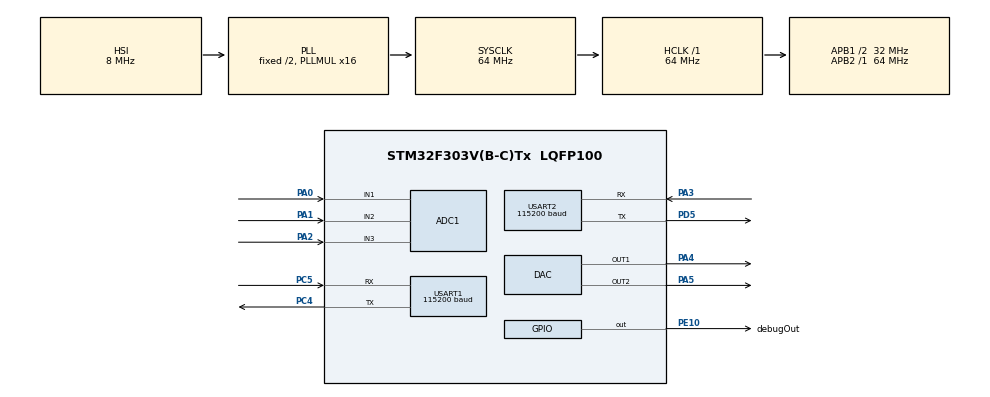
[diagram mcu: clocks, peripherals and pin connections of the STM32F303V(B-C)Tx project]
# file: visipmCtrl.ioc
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ADC1.Channel-11\#ChannelRegularConversion=ADC_CHANNEL_1
ADC1.Channel-12\#ChannelRegularConversion=ADC_CHANNEL_2
ADC1.Channel-13\#ChannelRegularConversion=ADC_CHANNEL_VREFINT
ADC1.Channel-14\#ChannelRegularConversion=ADC_CHANNEL_3
ADC1.ClockPrescaler=ADC_CLOCK_SYNC_PCLK_DIV4
ADC1.ContinuousConvMode=ENABLE
ADC1.DMAContinuousRequests=ENABLE
ADC1.NbrOfConversion=4
ADC1.NbrOfConversionFlag=1
ADC1.Offset-11\#ChannelRegularConversion=0
ADC1.Offset-12\#ChannelRegularConversion=0
ADC1.Offset-13\#ChannelRegularConversion=0
ADC1.Offset-14\#ChannelRegularConversion=0
ADC1.OffsetNumber-11\#ChannelRegularConversion=ADC_OFFSET_NONE
ADC1.OffsetNumber-12\#ChannelRegularConversion=ADC_OFFSET_NONE
ADC1.OffsetNumber-13\#ChannelRegularConversion=ADC_OFFSET_NONE
ADC1.OffsetNumber-14\#ChannelRegularConversion=ADC_OFFSET_NONE
ADC1.Rank-11\#ChannelRegularConversion=1
ADC1.Rank-12\#ChannelRegularConversion=2
ADC1.Rank-13\#ChannelRegularConversion=3
ADC1.Rank-14\#ChannelRegularConversion=4
ADC1.SamplingTime-11\#ChannelRegularConversion=ADC_SAMPLETIME_601CYCLES_5
ADC1.SamplingTime-12\#ChannelRegularConversion=ADC_SAMPLETIME_601CYCLES_5
ADC1.SamplingTime-13\#ChannelRegularConversion=ADC_SAMPLETIME_601CYCLES_5
ADC1.SamplingTime-14\#ChannelRegularConversion=ADC_SAMPLETIME_601CYCLES_5
ADC1.SamplingTimeOPAMP-14\#ChannelRegularConversion=ADC_SAMPLETIME_7CYCLES_5
ADC1.master=1
DAC.DAC_OutputBuffer=DAC_OUTPUTBUFFER_DISABLE
DAC.DAC_OutputBuffer2=DAC_OUTPUTBUFFER_DISABLE
Dma.ADC1.0.Direction=DMA_PERIPH_TO_MEMORY
Dma.ADC1.0.Instance=DMA1_Channel1
Dma.ADC1.0.MemDataAlignment=DMA_MDATAALIGN_WORD
Dma.ADC1.0.MemInc=DMA_MINC_ENABLE
Dma.ADC1.0.Mode=DMA_CIRCULAR
Dma.ADC1.0.PeriphDataAlignment=DMA_PDATAALIGN_WORD
Dma.ADC1.0.PeriphInc=DMA_PINC_DISABLE
Dma.ADC1.0.Priority=DMA_PRIORITY_LOW
Dma.Request0=ADC1
Mcu.Family=STM32F3
Mcu.Name=STM32F303V(B-C)Tx
Mcu.Package=LQFP100
NVIC.DMA1_Channel1_IRQn=true\:0\:0\:false\:false\:true\:false\:true
NVIC.PriorityGroup=NVIC_PRIORITYGROUP_0
NVIC.TIM2_IRQn=true\:0\:0\:false\:false\:true\:true\:true
NVIC.TIM6_DAC_IRQn=true\:0\:0\:false\:false\:true\:true\:true
NVIC.USART1_IRQn=true\:0\:0\:false\:false\:true\:true\:true
NVIC.USART2_IRQn=true\:0\:0\:false\:false\:true\:true\:true
PA0.Mode=IN1-Single-Ended
PA0.Signal=ADC1_IN1
PA1.Mode=IN2-Single-Ended
PA1.Signal=ADC1_IN2
PA13.Mode=Serial_Wire
PA13.Signal=SYS_JTMS-SWDIO
PA14.Mode=Serial_Wire
PA14.Signal=SYS_JTCK-SWCLK
PA2.Mode=IN3-Single-Ended
PA2.Signal=ADC1_IN3
PA3.Mode=Asynchronous
PA3.Signal=USART2_RX
PA4.Signal=COMP_DAC1_group
PA5.Signal=COMP_DAC2_group
PC4.Mode=Asynchronous
PC4.Signal=USART1_TX
PC5.Mode=Asynchronous
PC5.Signal=USART1_RX
PD5.Mode=Asynchronous
PD5.Signal=USART2_TX
PE10.GPIO_Label=debugOut
PE10.Signal=GPIO_Output
ProjectManager.HeapSize=0x200
ProjectManager.StackSize=0x400
ProjectManager.TargetToolchain=STM32CubeIDE
RCC.AHBFreq_Value=64000000
RCC.APB1CLKDivider=RCC_HCLK_DIV2
RCC.APB1Freq_Value=32000000
RCC.APB1TimFreq_Value=64000000
RCC.APB2Freq_Value=64000000
RCC.APB2TimFreq_Value=64000000
RCC.CortexFreq_Value=64000000
RCC.DATA_CACHE_ENABLE=1
RCC.HCLKFreq_Value=64000000
RCC.HSE_VALUE=8000000
RCC.HSI_VALUE=8000000
RCC.INSTRUCTION_CACHE_ENABLE=1
RCC.LSE_VALUE=32768
RCC.PLLMUL=RCC_PLL_MUL16
RCC.PWR_Regulator_Voltage_Scale=PWR_REGULATOR_VOLTAGE_SCALE1
RCC.SYSCLKFreq_VALUE=64000000
RCC.SYSCLKSourceVirtual=RCC_SYSCLKSOURCE_PLLCLK
RCC.USBFreq_Value=64000000
RCC.Usart2ClockSelection=RCC_USART2CLKSOURCE_SYSCLK
SH.COMP_DAC1_group.0=DAC_OUT1,DAC_OUT1
SH.COMP_DAC2_group.0=DAC_OUT2,Enable_DAC_OUT2
TIM2.Period=1000
TIM2.Prescaler=63
USART1.BaudRate=115200
USART1.VirtualMode-Asynchronous=VM_ASYNC
USART2.BaudRate=115200
USART2.VirtualMode-Asynchronous=VM_ASYNC
VP_ADC1_Vref_Input.Mode=IN-Vrefint
VP_TIM2_VS_ClockSourceINT.Mode=Internal
board=STM32F3DISCOVERY

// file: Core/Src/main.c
/* USER CODE BEGIN Header */
/**
  ******************************************************************************
  * @file           : main.c
  * @brief          : Main program body
  ******************************************************************************
  * @attention
  *
  * <h2><center>&copy; Copyright (c) 2021 STMicroelectronics.
  * All rights reserved.</center></h2>
  *
  * This software component is licensed by ST under BSD 3-Clause license,
  * the "License"; You may not use this file except in compliance with the
  * License. You may obtain a copy of the License at:
  *                        opensource.org/licenses/BSD-3-Clause
  *
  ******************************************************************************
  */
/* USER CODE END Header */
#include "main.h"

ADC_HandleTypeDef hadc1;
DMA_HandleTypeDef hdma_adc1;

DAC_HandleTypeDef hdac;

TIM_HandleTypeDef htim2;

UART_HandleTypeDef huart1;
UART_HandleTypeDef huart2;

/* USER CODE BEGIN PV */

uint8_t vSection = BIAS;

/*
 * Variabili per la conversione ADC
 */

uint32_t ADCBuf[4];
float vref = 3.0;
float biasReadVal;
float biasHVReadVal;
float katodeReadVal;

/*
 * Variabili per il BIAS
 */
float biasVoltage = 0.0;
float biasMaxVoltage = MAXBIAS;

/*
 * Variabili per il CATODO
 */
float katodeVoltage = 0.0;
float katodeMaxVoltage = MAXKATODE;

/*
 * Variabili per la UART
 */
uint8_t dataBuffer1[BUFSIZE];
uint8_t dataBuffer2[BUFSIZE];
uint8_t sendBuffer[BUFSIZE];

uint8_t* dataPointer1 = dataBuffer1;
uint8_t* endPacketPointer1 = dataBuffer1;

uint8_t* dataPointer2 = dataBuffer2;
uint8_t* endPacketPointer2 = dataBuffer2;

uint8_t* sendPointer = sendBuffer;
uint8_t* endSendPointer = sendBuffer;

uint8_t* packetToProcess[PACKETSINBUF];
uint8_t packetsNum = 0;

uint8_t* packetToSend[PACKETSINBUF];
uint8_t pckToSendNum = 0;

uint8_t uartDir = 0;

/*
 * Variabili per parseFSM
 */
uint8_t command = 0;
uint8_t sendCommand = 0;
uint8_t packetProcessed = 0;
char argument[CMDARGSIZE];
float* outVoltagePointer = NULL;
float* readVoltagePointer = NULL;
float* maxVoltagePointer = NULL;

/*
 * Variabili per packetCtrlFSM
 */
uint8_t process = 0;
uint8_t packetIndex = 0;
uint8_t packetReadIndex = 0;
uint8_t sendBufIndex = 0;
uint8_t pckToSendIndex = 0;
uint8_t pckToSendLen = 0;

uint8_t* currPacket = NULL;
uint8_t* currSendPck = NULL;

uint8_t dataSent = 0;

uint8_t timeElapsed = 0;

float pidErrBias = 0.0;
float pidOutBias = 0.0;
float pidErrKat = 0.0;
float pidOutKat = 0.0;

void* parseFsmInputs[] = {&currPacket,
                          &process,
                          &biasVoltage,
                          &biasMaxVoltage,
                          &katodeVoltage,
                          &katodeMaxVoltage,
                          &biasReadVal,
                          &katodeReadVal};

void* parseFsmOutputs[] = {&command,
                           &argument,
                           &packetsNum,
                           &packetProcessed,
                           &uartDir,
                           &outVoltagePointer,
                           &readVoltagePointer,
                           &maxVoltagePointer,
                           &vSection};

void* packetCtrlInputs[] = {&packetsNum,
                            &packetProcessed};

void* packetCtrlOutputs[] = {&process,
                             &packetReadIndex};

void* sendFsmInputs[] = {&uartDir,
                         &pckToSendNum,
                         &dataSent};

void* sendFsmOutputs[] = {&pckToSendIndex,
                          &sendCommand,
                          &dataSent};

/* USER CODE END PV */

void SystemClock_Config(void);
static void MX_GPIO_Init(void);
static void MX_DMA_Init(void);
static void MX_ADC1_Init(void);
static void MX_DAC_Init(void);
static void MX_USART1_UART_Init(void);
static void MX_USART2_UART_Init(void);
static void MX_TIM2_Init(void);
/* USER CODE BEGIN PFP */
void setDACbyPID(arm_pid_instance_f32* pid,
                 DAC_HandleTypeDef* dac,
                 uint32_t channel,
                 float setValue,
                 float readValue);
/* USER CODE END PFP */

int main(void)
{
  /* USER CODE BEGIN 1 */

    fsm_t parseFSM;
    fsm_t packetCtrlFSM;
    fsm_t sendFSM;

    arm_pid_instance_f32 biasPID;
    biasPID.Kp = PIDKp;
    biasPID.Ki = PIDKi;
    biasPID.Kd = PIDkd;

    arm_pid_instance_f32 katPID;
    katPID.Kp = PIDKp;
    katPID.Ki = PIDKi;
    katPID.Kd = PIDkd;

  /* USER CODE END 1 */

  /* MCU Configuration--------------------------------------------------------*/

  /* Reset of all peripherals, Initializes the Flash interface and the Systick. */
  HAL_Init();

  /* USER CODE BEGIN Init */

    memset(dataBuffer1,0,BUFSIZE);
    memset(dataBuffer2,0,BUFSIZE);
    memset(sendBuffer,0,BUFSIZE);
    memset(packetToProcess,0,BUFSIZE);
    memset(packetToSend,0,BUFSIZE);

    ADCBuf[BIAS] = 0;
    ADCBuf[KATODE] = 0;
    ADCBuf[VREFINT] = 0;
    ADCBuf[BIASHV] = 0;

    currPacket = packetToProcess[0];

  /* USER CODE END Init */

  /* Configure the system clock */
  SystemClock_Config();

  /* Initialize all configured peripherals */
  MX_GPIO_Init();
  MX_DMA_Init();
  MX_ADC1_Init();
  MX_DAC_Init();
  MX_USART1_UART_Init();
  MX_USART2_UART_Init();
  MX_TIM2_Init();
  /* USER CODE BEGIN 2 */

    arm_pid_init_f32(&biasPID, 1);
    arm_pid_init_f32(&katPID, 1);

    HAL_UART_Receive_IT(&huart1, dataBuffer1, 1);
    HAL_UART_Receive_IT(&huart2, dataBuffer2, 1);

    packetCtrlFSM = initFSM(packetCtrlIDLE,
                            packetCtrlInputs,
                            packetCtrlOutputs);

    parseFSM = initFSM(parseIDLE,
                       parseFsmInputs,
                       parseFsmOutputs);

    sendFSM = initFSM(fsmSendIDLE,
                      sendFsmInputs,
                      sendFsmOutputs);

    HAL_DAC_Start(&hdac, DAC1_CHANNEL_1);
    HAL_DAC_Start(&hdac, DAC1_CHANNEL_2);

    HAL_ADCEx_Calibration_Start(&hadc1, ADC_SINGLE_ENDED);

    HAL_ADC_Start_DMA(&hadc1, ADCBuf, 4);

    HAL_TIM_Base_Start_IT(&htim2);

  /* USER CODE END 2 */

  /* Infinite loop */
  /* USER CODE BEGIN WHILE */
  while (1)
  {
      runFSM(&packetCtrlFSM);

      currPacket = packetToProcess[packetReadIndex];

      runFSM(&parseFSM);

      execute(command);

      runFSM(&sendFSM);

      execute(sendCommand);

      if(timeElapsed){
          HAL_GPIO_TogglePin(debugOut_GPIO_Port, debugOut_Pin);

          setDACbyPID(&biasPID, &hdac, DAC1_CHANNEL_1, biasVoltage, biasReadVal);
          setDACbyPID(&katPID, &hdac, DAC1_CHANNEL_2, katodeVoltage, katodeReadVal);

          timeElapsed = 0;
      }

    /* USER CODE END WHILE */

  }
}

void SystemClock_Config(void)
{
  RCC_OscInitTypeDef RCC_OscInitStruct = {0};
  RCC_ClkInitTypeDef RCC_ClkInitStruct = {0};
  RCC_PeriphCLKInitTypeDef PeriphClkInit = {0};

  /** Initializes the RCC Oscillators according to the specified parameters
  * in the RCC_OscInitTypeDef structure.
  */
  RCC_OscInitStruct.OscillatorType = RCC_OSCILLATORTYPE_HSI;
  RCC_OscInitStruct.HSIState = RCC_HSI_ON;
  RCC_OscInitStruct.HSICalibrationValue = RCC_HSICALIBRATION_DEFAULT;
  RCC_OscInitStruct.PLL.PLLState = RCC_PLL_ON;
  RCC_OscInitStruct.PLL.PLLSource = RCC_PLLSOURCE_HSI;
  RCC_OscInitStruct.PLL.PLLMUL = RCC_PLL_MUL16;
  if (HAL_RCC_OscConfig(&RCC_OscInitStruct) != HAL_OK)
  {
    Error_Handler();
  }
  /** Initializes the CPU, AHB and APB buses clocks
  */
  RCC_ClkInitStruct.ClockType = RCC_CLOCKTYPE_HCLK|RCC_CLOCKTYPE_SYSCLK
                              |RCC_CLOCKTYPE_PCLK1|RCC_CLOCKTYPE_PCLK2;
  RCC_ClkInitStruct.SYSCLKSource = RCC_SYSCLKSOURCE_PLLCLK;
  RCC_ClkInitStruct.AHBCLKDivider = RCC_SYSCLK_DIV1;
  RCC_ClkInitStruct.APB1CLKDivider = RCC_HCLK_DIV2;
  RCC_ClkInitStruct.APB2CLKDivider = RCC_HCLK_DIV1;

  if (HAL_RCC_ClockConfig(&RCC_ClkInitStruct, FLASH_LATENCY_2) != HAL_OK)
  {
    Error_Handler();
  }
  PeriphClkInit.PeriphClockSelection = RCC_PERIPHCLK_USART1|RCC_PERIPHCLK_USART2;
  PeriphClkInit.Usart1ClockSelection = RCC_USART1CLKSOURCE_PCLK2;
  PeriphClkInit.Usart2ClockSelection = RCC_USART2CLKSOURCE_SYSCLK;
  if (HAL_RCCEx_PeriphCLKConfig(&PeriphClkInit) != HAL_OK)
  {
    Error_Handler();
  }
}

static void MX_ADC1_Init(void)
{

  ADC_MultiModeTypeDef multimode = {0};
  ADC_ChannelConfTypeDef sConfig = {0};

  /** Common config
  */
  hadc1.Instance = ADC1;
  hadc1.Init.ClockPrescaler = ADC_CLOCK_SYNC_PCLK_DIV4;
  hadc1.Init.Resolution = ADC_RESOLUTION_12B;
  hadc1.Init.ScanConvMode = ADC_SCAN_ENABLE;
  hadc1.Init.ContinuousConvMode = ENABLE;
  hadc1.Init.DiscontinuousConvMode = DISABLE;
  hadc1.Init.ExternalTrigConvEdge = ADC_EXTERNALTRIGCONVEDGE_NONE;
  hadc1.Init.ExternalTrigConv = ADC_SOFTWARE_START;
  hadc1.Init.DataAlign = ADC_DATAALIGN_RIGHT;
  hadc1.Init.NbrOfConversion = 4;
  hadc1.Init.DMAContinuousRequests = ENABLE;
  hadc1.Init.EOCSelection = ADC_EOC_SINGLE_CONV;
  hadc1.Init.LowPowerAutoWait = DISABLE;
  hadc1.Init.Overrun = ADC_OVR_DATA_OVERWRITTEN;
  if (HAL_ADC_Init(&hadc1) != HAL_OK)
  {
    Error_Handler();
  }
  /** Configure the ADC multi-mode
  */
  multimode.Mode = ADC_MODE_INDEPENDENT;
  if (HAL_ADCEx_MultiModeConfigChannel(&hadc1, &multimode) != HAL_OK)
  {
    Error_Handler();
  }
  /** Configure Regular Channel
  */
  sConfig.Channel = ADC_CHANNEL_1;
  sConfig.Rank = ADC_REGULAR_RANK_1;
  sConfig.SingleDiff = ADC_SINGLE_ENDED;
  sConfig.SamplingTime = ADC_SAMPLETIME_601CYCLES_5;
  sConfig.OffsetNumber = ADC_OFFSET_NONE;
  sConfig.Offset = 0;
  if (HAL_ADC_ConfigChannel(&hadc1, &sConfig) != HAL_OK)
  {
    Error_Handler();
  }
  /** Configure Regular Channel
  */
  sConfig.Channel = ADC_CHANNEL_2;
  sConfig.Rank = ADC_REGULAR_RANK_2;
  if (HAL_ADC_ConfigChannel(&hadc1, &sConfig) != HAL_OK)
  {
    Error_Handler();
  }
  /** Configure Regular Channel
  */
  sConfig.Channel = ADC_CHANNEL_VREFINT;
  sConfig.Rank = ADC_REGULAR_RANK_3;
  if (HAL_ADC_ConfigChannel(&hadc1, &sConfig) != HAL_OK)
  {
    Error_Handler();
  }
  /** Configure Regular Channel
  */
  sConfig.Channel = ADC_CHANNEL_3;
  sConfig.Rank = ADC_REGULAR_RANK_4;
  if (HAL_ADC_ConfigChannel(&hadc1, &sConfig) != HAL_OK)
  {
    Error_Handler();
  }

}

static void MX_DAC_Init(void)
{

  DAC_ChannelConfTypeDef sConfig = {0};

  /** DAC Initialization
  */
  hdac.Instance = DAC;
  if (HAL_DAC_Init(&hdac) != HAL_OK)
  {
    Error_Handler();
  }
  /** DAC channel OUT1 config
  */
  sConfig.DAC_Trigger = DAC_TRIGGER_NONE;
  sConfig.DAC_OutputBuffer = DAC_OUTPUTBUFFER_DISABLE;
  if (HAL_DAC_ConfigChannel(&hdac, &sConfig, DAC_CHANNEL_1) != HAL_OK)
  {
    Error_Handler();
  }
  /** DAC channel OUT2 config
  */
  if (HAL_DAC_ConfigChannel(&hdac, &sConfig, DAC_CHANNEL_2) != HAL_OK)
  {
    Error_Handler();
  }

}

static void MX_TIM2_Init(void)
{

  TIM_ClockConfigTypeDef sClockSourceConfig = {0};
  TIM_MasterConfigTypeDef sMasterConfig = {0};

  htim2.Instance = TIM2;
  htim2.Init.Prescaler = 63;
  htim2.Init.CounterMode = TIM_COUNTERMODE_UP;
  htim2.Init.Period = 1000;
  htim2.Init.ClockDivision = TIM_CLOCKDIVISION_DIV1;
  htim2.Init.AutoReloadPreload = TIM_AUTORELOAD_PRELOAD_DISABLE;
  if (HAL_TIM_Base_Init(&htim2) != HAL_OK)
  {
    Error_Handler();
  }
  sClockSourceConfig.ClockSource = TIM_CLOCKSOURCE_INTERNAL;
  if (HAL_TIM_ConfigClockSource(&htim2, &sClockSourceConfig) != HAL_OK)
  {
    Error_Handler();
  }
  sMasterConfig.MasterOutputTrigger = TIM_TRGO_RESET;
  sMasterConfig.MasterSlaveMode = TIM_MASTERSLAVEMODE_DISABLE;
  if (HAL_TIMEx_MasterConfigSynchronization(&htim2, &sMasterConfig) != HAL_OK)
  {
    Error_Handler();
  }

}

static void MX_USART1_UART_Init(void)
{

  huart1.Instance = USART1;
  huart1.Init.BaudRate = 115200;
  huart1.Init.WordLength = UART_WORDLENGTH_8B;
  huart1.Init.StopBits = UART_STOPBITS_1;
  huart1.Init.Parity = UART_PARITY_NONE;
  huart1.Init.Mode = UART_MODE_TX_RX;
  huart1.Init.HwFlowCtl = UART_HWCONTROL_NONE;
  huart1.Init.OverSampling = UART_OVERSAMPLING_16;
  huart1.Init.OneBitSampling = UART_ONE_BIT_SAMPLE_DISABLE;
  huart1.AdvancedInit.AdvFeatureInit = UART_ADVFEATURE_NO_INIT;
  if (HAL_UART_Init(&huart1) != HAL_OK)
  {
    Error_Handler();
  }

}

static void MX_USART2_UART_Init(void)
{

  huart2.Instance = USART2;
  huart2.Init.BaudRate = 115200;
  huart2.Init.WordLength = UART_WORDLENGTH_8B;
  huart2.Init.StopBits = UART_STOPBITS_1;
  huart2.Init.Parity = UART_PARITY_NONE;
  huart2.Init.Mode = UART_MODE_TX_RX;
  huart2.Init.HwFlowCtl = UART_HWCONTROL_NONE;
  huart2.Init.OverSampling = UART_OVERSAMPLING_16;
  huart2.Init.OneBitSampling = UART_ONE_BIT_SAMPLE_DISABLE;
  huart2.AdvancedInit.AdvFeatureInit = UART_ADVFEATURE_NO_INIT;
  if (HAL_UART_Init(&huart2) != HAL_OK)
  {
    Error_Handler();
  }

}

static void MX_DMA_Init(void)
{

  /* DMA controller clock enable */
  __HAL_RCC_DMA1_CLK_ENABLE();

  /* DMA interrupt init */
  /* DMA1_Channel1_IRQn interrupt configuration */
  HAL_NVIC_SetPriority(DMA1_Channel1_IRQn, 0, 0);
  HAL_NVIC_EnableIRQ(DMA1_Channel1_IRQn);

}

static void MX_GPIO_Init(void)
{
  GPIO_InitTypeDef GPIO_InitStruct = {0};

  /* GPIO Ports Clock Enable */
  __HAL_RCC_GPIOA_CLK_ENABLE();
  __HAL_RCC_GPIOC_CLK_ENABLE();
  __HAL_RCC_GPIOE_CLK_ENABLE();
  __HAL_RCC_GPIOD_CLK_ENABLE();

  /*Configure GPIO pin Output Level */
  HAL_GPIO_WritePin(debugOut_GPIO_Port, debugOut_Pin, GPIO_PIN_RESET);

  /*Configure GPIO pin : debugOut_Pin */
  GPIO_InitStruct.Pin = debugOut_Pin;
  GPIO_InitStruct.Mode = GPIO_MODE_OUTPUT_PP;
  GPIO_InitStruct.Pull = GPIO_NOPULL;
  GPIO_InitStruct.Speed = GPIO_SPEED_FREQ_LOW;
  HAL_GPIO_Init(debugOut_GPIO_Port, &GPIO_InitStruct);

}

/* USER CODE BEGIN 4 */
void setDACbyPID(arm_pid_instance_f32* pid,
                 DAC_HandleTypeDef* dac,
                 uint32_t channel,
                 float setValue,
                 float readValue){

    float dacRef = vref;

    float setDVal = (setValue <= dacRef) ? setValue*4095/dacRef : 4095.0;
    float readDVal = readValue*4095/dacRef;

    float pidOut = arm_pid_f32(pid, setDVal-readDVal);

    if(pidOut > 4095.0)
        pidOut = 4095.0;
    if(pidOut < 0.0)
        pidOut = 0.0;

    HAL_DAC_SetValue(dac, channel, DAC_ALIGN_12B_R, (uint32_t)pidOut);
}
/* USER CODE END 4 */

void Error_Handler(void)
{
  __disable_irq();
  while (1)
  {
  }
}

/************************ (C) COPYRIGHT STMicroelectronics *****END OF FILE****/
